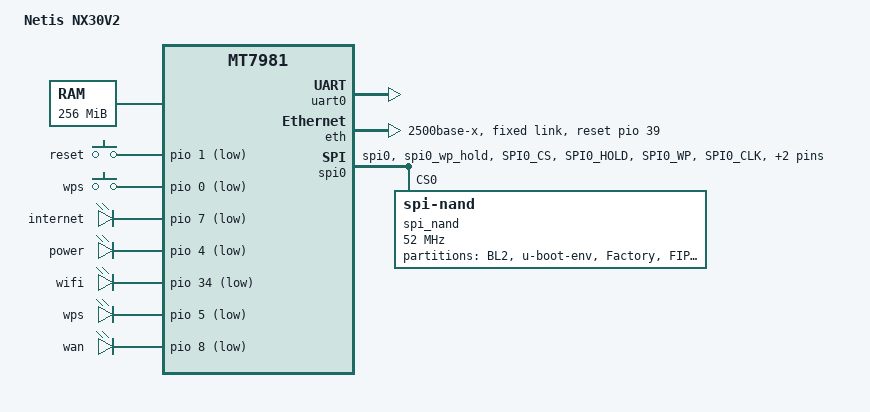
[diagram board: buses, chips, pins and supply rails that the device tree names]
// SPDX-License-Identifier: GPL-2.0

/dts-v1/;
#include "mt7981.dtsi"
#include <dt-bindings/gpio/gpio.h>
#include <dt-bindings/input/input.h>

/ {
	model = "Netis NX30V2";
	compatible = "mediatek,mt7981", "mediatek,mt7981-rfb";
	chosen {
		stdout-path = &uart0;
		tick-timer = &timer0;
	};

	memory@40000000 {
		device_type = "memory";
		reg = <0x40000000 0x10000000>;
	};

	gpio-keys {
		compatible = "gpio-keys";

		reset {
			label = "reset";
			linux,code = <KEY_RESTART>;
			gpios = <&pio 1 GPIO_ACTIVE_LOW>;
		};

		wps {
			label = "wps";
			linux,code = <KEY_WPS_BUTTON>;
			gpios = <&pio 0 GPIO_ACTIVE_LOW>;
		};
	};

	leds {
		compatible = "gpio-leds";

		internet {
			label = "internet";
			gpios = <&pio 7 GPIO_ACTIVE_LOW>;
		};

		power {
			label = "power";
			gpios = <&pio 4 GPIO_ACTIVE_LOW>;
		};

		wifi {
			label = "wifi";
			gpios = <&pio 34 GPIO_ACTIVE_LOW>;
		};

		wps {
			label = "wps";
			gpios = <&pio 5 GPIO_ACTIVE_LOW>;
		};

		wan {
			label = "wan";
			gpios = <&pio 8 GPIO_ACTIVE_LOW>;
		};

	};

};

&uart0 {
	status = "okay";
};

&eth {
	status = "okay";
	mediatek,gmac-id = <0>;
	phy-mode = "2500base-x";
	mediatek,switch = "auto";
	reset-gpios = <&pio 39 GPIO_ACTIVE_HIGH>;

	fixed-link {
		speed = <2500>;
		full-duplex;
	};
};

&pio {
	spi_flash_pins: spi0-pins-func-1 {
		mux {
			function = "flash";
			groups = "spi0", "spi0_wp_hold";
		};

		conf-pu {
			pins = "SPI0_CS", "SPI0_HOLD", "SPI0_WP";
			drive-strength = <MTK_DRIVE_8mA>;
			bias-pull-up = <MTK_PUPD_SET_R1R0_11>;
		};

		conf-pd {
			pins = "SPI0_CLK", "SPI0_MOSI", "SPI0_MISO";
			drive-strength = <MTK_DRIVE_8mA>;
			bias-pull-down = <MTK_PUPD_SET_R1R0_11>;
		};
	};
};

&spi0 {
	#address-cells = <1>;
	#size-cells = <0>;
	pinctrl-names = "default";
	pinctrl-0 = <&spi_flash_pins>;
	status = "okay";
	enhance_timing;
	dma_ext;
	ipm_design;
	support_quad;
	tick_dly = <2>;
	sample_sel = <0>;

	spi_nand@0 {
		compatible = "spi-nand";
		reg = <0>;
		spi-max-frequency = <52000000>;

		partitions {
			compatible = "fixed-partitions";
			#address-cells = <1>;
			#size-cells = <1>;

			partition@0 {
				label = "BL2";
				reg = <0x0 0x100000>;
			};

			partition@100000 {
				label = "u-boot-env";
				reg = <0x100000 0x80000>;
			};

			partition@180000 {
				label = "Factory";
				reg = <0x180000 0x200000>;
			};

			partition@380000 {
				label = "FIP";
				reg = <0x380000 0x200000>;
			};

			partition@580000 {
				label = "ubi";
				reg = <0x580000 0x7280000>;
			};
		};
	};
};

&watchdog {
	status = "disabled";
};
